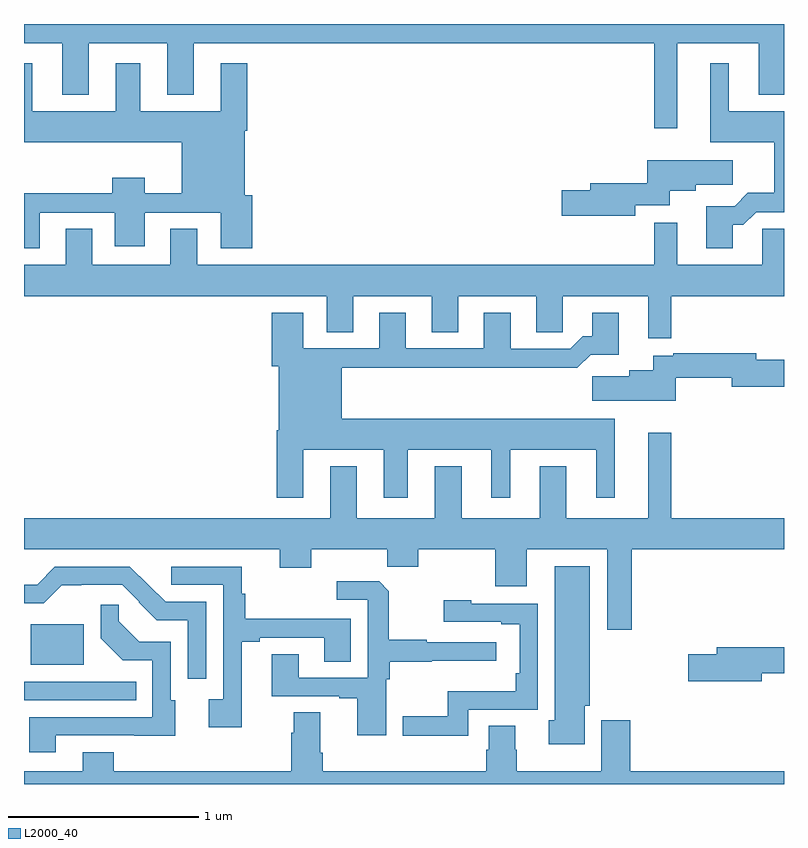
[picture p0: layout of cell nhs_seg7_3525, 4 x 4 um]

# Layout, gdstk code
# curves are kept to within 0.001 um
import gdstk
lib = gdstk.Library(unit=1e-6, precision=1e-09)
def R(c, l, rs):  # rectangles x0, y0, x1, y1
    for r in rs: c.add(gdstk.rectangle(r[:2], r[2:], *l))
def P(c, l, *ps):  # polygons
    for p in ps: c.add(gdstk.Polygon(p, *l))
L2000_40 = (2000, 40)

nhs_seg7_3525 = lib.new_cell('nhs_seg7_3525')
R(nhs_seg7_3525, L2000_40, [(335,1046.442,335.591,1046.538), (335.036,1046.627,335.314,1046.842)])
P(nhs_seg7_3525, L2000_40, [(335,1049.9),(335.201,1049.9),(335.201,1049.627),(335.341,1049.627),(335.341,1049.9),(335.753,1049.9),(335.753,1049.627),(335.893,1049.627),(335.893,1049.9),(338.316,1049.9),(338.316,1049.451),(338.437,1049.451),(338.437,1049.9),(338.867,1049.9),(338.867,1049.627),(339,1049.627),(339,1050),(335,1050)],
  [(338.731,1048.943),(338.786,1048.943),(338.853,1049.01),(339,1049.01),(339,1049.542),(338.71,1049.542),(338.71,1049.794),(338.612,1049.794),(338.612,1049.378),(338.948,1049.378),(338.948,1049.111),(338.81,1049.111),(338.74,1049.041),(338.591,1049.041),(338.591,1048.821),(338.731,1048.821)],
  [(335.083,1049.007),(335.477,1049.007),(335.477,1048.829),(335.635,1048.829),(335.635,1049.007),(336.035,1049.007),(336.035,1048.821),(336.2,1048.821),(336.2,1049.1),(336.163,1049.1),(336.163,1049.438),(336.176,1049.438),(336.176,1049.794),(336.035,1049.794),(336.035,1049.542),(335.611,1049.542),(335.611,1049.794),(335.483,1049.794),(335.483,1049.542),(335.044,1049.542),(335.044,1049.794),(335,1049.794),(335,1049.378),(335.831,1049.378),(335.831,1049.108),(335.635,1049.108),(335.635,1049.191),(335.465,1049.191),(335.465,1049.108),(335,1049.108),(335,1048.821),(335.083,1048.821)],
  [(338.218,1049.046),(338.399,1049.046),(338.399,1049.123),(338.536,1049.123),(338.536,1049.155),(338.731,1049.155),(338.731,1049.284),(338.281,1049.284),(338.281,1049.162),(337.979,1049.162),(337.979,1049.126),(337.83,1049.126),(337.83,1048.991),(338.218,1048.991)],
  [(335.911,1048.922),(335.771,1048.922),(335.771,1048.732),(335.359,1048.732),(335.359,1048.922),(335.219,1048.922),(335.219,1048.732),(335,1048.732),(335,1048.568),(336.593,1048.568),(336.593,1048.378),(336.733,1048.378),(336.733,1048.568),(337.145,1048.568),(337.145,1048.378),(337.285,1048.378),(337.285,1048.568),(337.697,1048.568),(337.697,1048.378),(337.836,1048.378),(337.836,1048.568),(338.285,1048.568),(338.285,1048.347),(338.406,1048.347),(338.406,1048.568),(339,1048.568),(339,1048.922),(338.886,1048.922),(338.886,1048.732),(338.437,1048.732),(338.437,1048.954),(338.316,1048.954),(338.316,1048.732),(335.911,1048.732)],
  [(336.469,1047.758),(336.893,1047.758),(336.893,1047.507),(337.021,1047.507),(337.021,1047.758),(337.46,1047.758),(337.46,1047.507),(337.558,1047.507),(337.558,1047.758),(338.012,1047.758),(338.012,1047.507),(338.11,1047.507),(338.11,1047.922),(336.673,1047.922),(336.673,1048.192),(337.657,1048.192),(337.657,1048.19),(337.913,1048.19),(337.982,1048.259),(338.131,1048.259),(338.131,1048.48),(337.991,1048.48),(337.991,1048.357),(337.942,1048.357),(337.875,1048.29),(337.561,1048.29),(337.561,1048.48),(337.421,1048.48),(337.421,1048.293),(337.009,1048.293),(337.009,1048.48),(336.869,1048.48),(336.869,1048.293),(336.469,1048.293),(336.469,1048.48),(336.305,1048.48),(336.305,1048.2),(336.341,1048.2),(336.341,1047.862),(336.329,1047.862),(336.329,1047.507),(336.469,1047.507)],
  [(338.43,1048.138),(338.726,1048.138),(338.726,1048.091),(339,1048.091),(339,1048.233),(338.854,1048.233),(338.854,1048.267),(338.518,1048.267),(338.518,1048.266),(338.416,1048.266),(338.416,1048.254),(338.312,1048.254),(338.312,1048.177),(338.186,1048.177),(338.186,1048.145),(337.992,1048.145),(337.992,1048.016),(338.43,1048.016)],
  [(338.198,1047.236),(339,1047.236),(339,1047.4),(338.407,1047.4),(338.407,1047.85),(338.285,1047.85),(338.285,1047.4),(337.855,1047.4),(337.855,1047.673),(337.715,1047.673),(337.715,1047.4),(337.303,1047.4),(337.303,1047.673),(337.163,1047.673),(337.163,1047.4),(336.751,1047.4),(336.751,1047.673),(336.611,1047.673),(336.611,1047.4),(335,1047.4),(335,1047.236),(336.347,1047.236),(336.347,1047.137),(336.511,1047.137),(336.511,1047.236),(336.911,1047.236),(336.911,1047.143),(337.075,1047.143),(337.075,1047.236),(337.481,1047.236),(337.481,1047.042),(337.645,1047.042),(337.645,1047.236),(338.069,1047.236),(338.069,1046.811),(338.198,1046.811)],
  [(337.951,1046.412),(337.978,1046.412),(337.978,1047.145),(337.793,1047.145),(337.793,1046.336),(337.763,1046.336),(337.763,1046.21),(337.951,1046.21)],
  [(336.145,1046.749),(336.241,1046.749),(336.241,1046.769),(336.581,1046.769),(336.581,1046.644),(336.721,1046.644),(336.721,1046.87),(336.164,1046.87),(336.164,1047.002),(336.146,1047.002),(336.146,1047.144),(335.775,1047.144),(335.775,1047.048),(336.048,1047.048),(336.048,1046.446),(335.973,1046.446),(335.973,1046.298),(336.145,1046.298)],
  [(335.958,1046.958),(335.745,1046.958),(335.557,1047.144),(335.163,1047.144),(335.069,1047.05),(335,1047.05),(335,1046.952),(335.103,1046.952),(335.198,1047.047),(335.517,1047.048),(335.607,1046.958),(335.605,1046.956),(335.699,1046.862),(335.862,1046.862),(335.862,1046.555),(335.958,1046.555)],
  [(336.906,1046.552),(336.926,1046.552),(336.926,1046.644),(337.145,1046.644),(337.145,1046.648),(337.486,1046.648),(337.486,1046.745),(337.121,1046.745),(337.121,1046.758),(336.921,1046.758),(336.921,1047.015),(336.869,1047.067),(336.645,1047.067),(336.645,1046.97),(336.81,1046.97),(336.81,1046.559),(336.445,1046.559),(336.445,1046.684),(336.305,1046.684),(336.305,1046.463),(336.659,1046.463),(336.659,1046.451),(336.755,1046.451),(336.755,1046.256),(336.906,1046.256)],
  [(337.338,1046.391),(337.704,1046.391),(337.704,1046.949),(337.353,1046.949),(337.353,1046.968),(337.209,1046.968),(337.209,1046.853),(337.511,1046.853),(337.511,1046.841),(337.608,1046.841),(337.608,1046.584),(337.588,1046.584),(337.588,1046.488),(337.23,1046.488),(337.23,1046.357),(336.993,1046.357),(336.993,1046.255),(337.338,1046.255)],
  [(335.167,1046.256),(335.797,1046.255),(335.797,1046.442),(335.772,1046.442),(335.772,1046.748),(335.606,1046.748),(335.498,1046.856),(335.498,1046.944),(335.403,1046.944),(335.403,1046.768),(335.519,1046.652),(335.676,1046.652),(335.676,1046.352),(335.027,1046.352),(335.027,1046.166),(335.167,1046.166)],
  [(338.884,1046.584),(339,1046.584),(339,1046.72),(338.645,1046.72),(338.645,1046.684),(338.496,1046.684),(338.496,1046.542),(338.884,1046.542)],
  [(339,1046.068),(338.192,1046.068),(338.192,1046.335),(338.039,1046.335),(338.039,1046.068),(337.593,1046.068),(337.593,1046.181),(337.585,1046.181),(337.585,1046.306),(337.445,1046.306),(337.445,1046.181),(337.433,1046.181),(337.433,1046.068),(336.572,1046.068),(336.572,1046.164),(336.559,1046.164),(336.559,1046.378),(336.419,1046.378),(336.419,1046.27),(336.407,1046.27),(336.407,1046.068),(335.473,1046.068),(335.473,1046.167),(335.309,1046.167),(335.309,1046.068),(335,1046.068),(335,1046),(339,1046)])

lib.write_gds('nhs_seg7_3525.gds')
